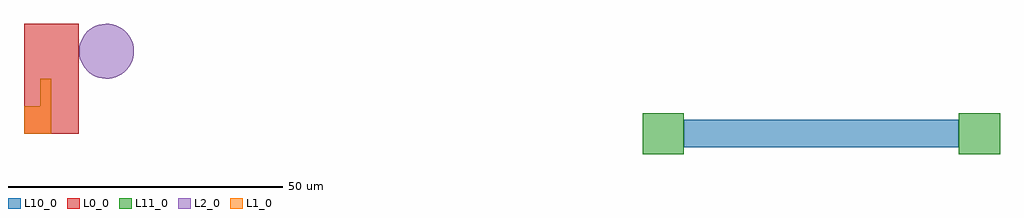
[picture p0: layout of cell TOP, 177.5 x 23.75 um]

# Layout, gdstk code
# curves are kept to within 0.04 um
import gdstk
lib = gdstk.Library(unit=1e-6, precision=1e-09)
def R(c, l, rs):  # rectangles x0, y0, x1, y1
    for r in rs: c.add(gdstk.rectangle(r[:2], r[2:], *l))
def P(c, l, *ps):  # polygons
    for p in ps: c.add(gdstk.Polygon(p, *l))
L0_0 = (0, 0)
L1_0 = (1, 0)
L2_0 = (2, 0)
L10_0 = (10, 0)
L11_0 = (11, 0)

simple_cell = lib.new_cell('SIMPLE_CELL')
R(simple_cell, L0_0, [(0,0,10,20)])
P(simple_cell, L1_0, [(0,0),(5,0),(5,10),(3,10),(3,5),(0,5)])
P(simple_cell, L2_0, [(20,15),(19.849,16.22),(19.405,17.365),(19.081,17.889),(18.253,18.797),(17.229,19.476),(16.662,19.716),(15.461,19.979),(14.846,19.998),(14.233,19.941),(13.051,19.605),(12.5,19.33),(11.519,18.59),(10.749,17.632),(10.458,17.09),(10.235,16.516),(10.009,15.308),(10.009,14.692),(10.235,13.484),(10.749,12.368),(11.519,11.41),(12.5,10.67),(13.051,10.395),(14.233,10.059),(14.846,10.002),(15.461,10.021),(16.662,10.284),(17.229,10.524),(18.253,11.203),(19.081,12.111),(19.405,12.635),(19.849,13.78)])

resistor = lib.new_cell('RESISTOR')
R(resistor, L10_0, [(0,-2.5,50,2.5)])
R(resistor, L11_0, [(-7.5,-3.75,0,3.75), (50,-3.75,57.5,3.75)])

top = lib.new_cell('TOP')
top.add(gdstk.Reference(simple_cell, (0,0)))
top.add(gdstk.Reference(resistor, (120,0)))

lib.write_gds('TOP.gds')
